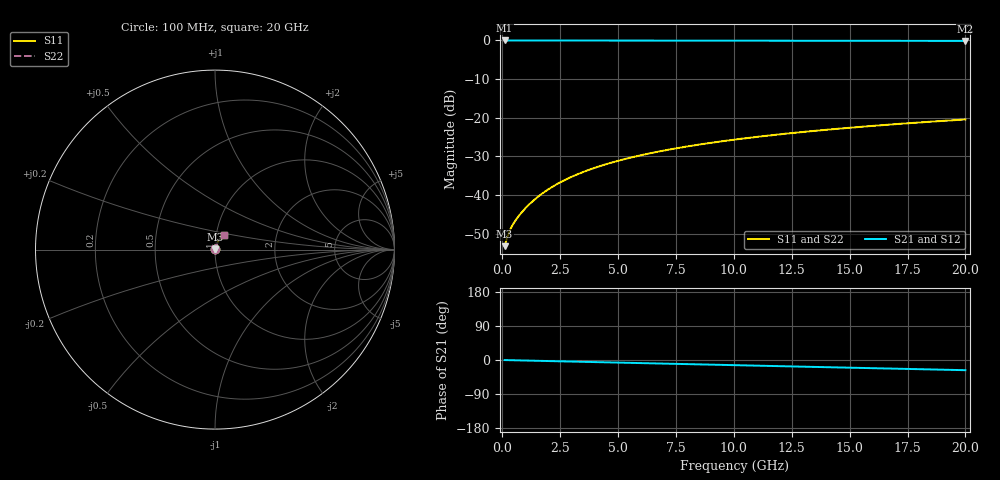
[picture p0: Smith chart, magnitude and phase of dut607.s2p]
! Touchstone file exported from HFSS 2026.1.0
!  File:  C:/ffzhzh/LocalFiles/Ansys_Project_Files/temp_train_BSMRDL_607_1783016161_46388.aedt
!  Generated:  02:17:24 AM Jul  3, 2026
!  Design:  BSMRDL
!  Project:  temp_train_BSMRDL_607_1783016161_46388
! Variables:
!  h_bsmrdl = 3.54um
!  h_ox = 20um
!  h_rdl = 5um
!  h_sub = 80um
!  h_tmrdl = 5um
!  h_tsv = 80um
!  h_via = 3um
!  l_bsmrdl = 454.21um
!  l_sub = 854.21um
!  l_tmrdl = 200um
!  m_sub = 200um
!  pitch = 34.76um
!  r_tsv = 6um
!  s_tmrdl = 10um
!  w_bsmrdl = 26.79um
!  w_sub = 500um
!  w_tmrdl = 12um
!  x_tsv_center1 = 206um
!  x_tsv_center2 = 687um
!  x_tsv_center3 = 899um
!  x_tsv_center4 = 1380um
!  x_tsv_center5 = 1592um
!  x_tsv_center6 = 2073um
# GHz S MA R 50.000000
! Terminal data exported
! Port[1] = BSM_RDL1_1_T1
! Port[2] = BSM_RDL1_1_T2
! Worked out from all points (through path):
!   200 points, 100 MHz to 20 GHz, reference 50 ohm
!   highest |S21| = -0.02 dB at 100 MHz (marker M1); lowest = -0.1 dB at 20 GHz (marker M2)
!   group delay of S21, straight-line fit = 3.72 ps
!   lowest |S11| = -53.3 dB at 100 MHz (marker M3), VSWR 1.00, Z = 50.2 + j0.0881 ohm
!   |S11| at or under -10 dB: start of sweep to end of sweep
!   |S22| runs from -53.3 to -20.5 dB; largest |S21 - S12| = 2.1e-15
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0.1  0.002173 23.8  0.998 -0.2  0.998 -0.2  0.002173 23.8
! Gamma 0 0 0 0
! Port Impedance 50 0 50 0
0.2  0.002744 36.6  0.9978 -0.3  0.9978 -0.3  0.002744 36.6
0.3  0.003325 43.0  0.9976 -0.5  0.9976 -0.5  0.003325 43.0
0.4  0.003855 47.2  0.9974 -0.6  0.9974 -0.6  0.003855 47.2
0.5  0.004346 50.4  0.9973 -0.7  0.9973 -0.7  0.004347 50.4
0.6  0.004821 53.2  0.9972 -0.9  0.9972 -0.9  0.004821 53.2
0.8  0.005765 57.9  0.997 -1.1  0.997 -1.1  0.005766 57.9
1.2  0.007727 64.4  0.9969 -1.7  0.9969 -1.7  0.007728 64.4
1.7  0.0103 69.0  0.9967 -2.4  0.9967 -2.4  0.0103 68.9
2.2  0.01294 71.4  0.9965 -3.1  0.9965 -3.1  0.01294 71.4
2.8  0.01614 72.8  0.9962 -3.9  0.9962 -3.9  0.01614 72.8
3.5  0.01985 73.4  0.9958 -4.8  0.9958 -4.8  0.01985 73.4
4.2  0.02353 73.5  0.9953 -5.8  0.9953 -5.8  0.02353 73.5
5  0.02766 73.1  0.9948 -6.9  0.9948 -6.9  0.02766 73.1
5.9  0.03221 72.4  0.9942 -8.1  0.9942 -8.1  0.03222 72.4
6.8  0.03667 71.6  0.9935 -9.3  0.9935 -9.3  0.03668 71.6
8.3  0.04391 70.0  0.9924 -11.4  0.9924 -11.4  0.04391 70.0
10.1  0.05232 68.1  0.9911 -13.8  0.9911 -13.8  0.05232 68.0
11.7  0.05958 66.3  0.99 -15.9  0.99 -15.9  0.05959 66.2
13.4  0.06712 64.4  0.9889 -18.2  0.9889 -18.2  0.06713 64.3
16.7  0.08127 60.6  0.9867 -22.5  0.9867 -22.5  0.08128 60.5
20  0.09476 56.7  0.9846 -26.9  0.9846 -26.9  0.09478 56.7
